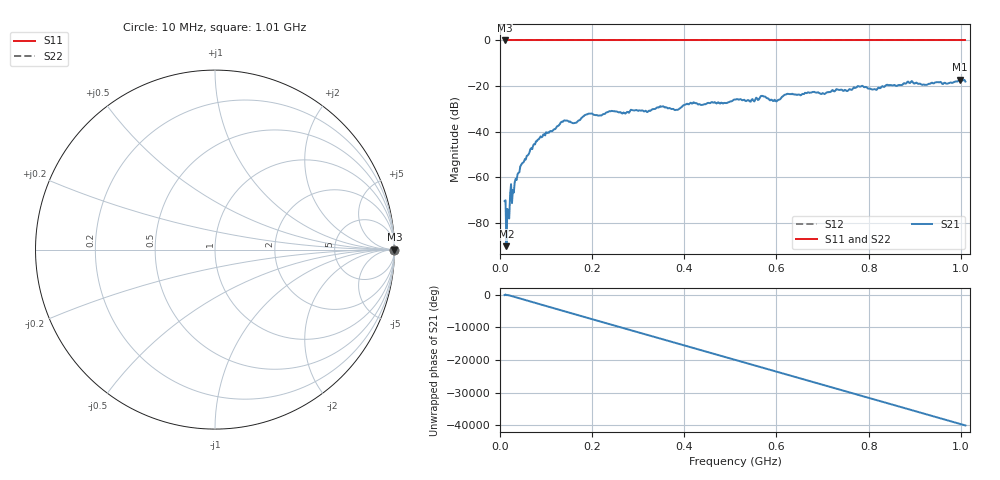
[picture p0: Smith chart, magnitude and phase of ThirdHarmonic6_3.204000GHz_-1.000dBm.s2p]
! 8/17/2025 9:44:20 AM
! C:\ANRITSUVNA\TEMP\TEMP.S2P
! CHANNEL.1
! TR.MEASUREMENT
! RAW.DATA
! RF.CORRECTION.OFF
! AVERAGING.OFF
! IF.BANDWIDTH: 5KHZ
! SWEEPTYPE:  FREQ.SWEEP(Linear)
! Reference Plane Port Info
! PORT:  PORT1  PORT2
! DISTANCE:  0  m  0  m
! TIME:  0  s  0  s
! PHASE.OFFSET:  0  deg.  0  deg.
! LOSS:  0  dB  0  dB
! REF.LOSS:  0  dB  0  dB
! REF.FREQ:  0  Hz  0  Hz
! Power Info
! POWER:  -20  dBm  -20  dBm
! EFF.POWER:  -20  dBm  -20  dBm
! SOURCE.ATTEN:  0  dB  0  dB
! TEST.ATTEN:  0  dB  0  dB
# GHZ S RI R 50.0
! FREQ.GHZ  S11RE  S11IM  S21RE  S21IM  S12RE  S12IM  S22RE  S22IM
!; PortSelection: Port_12
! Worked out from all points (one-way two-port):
!   501 points, 10 MHz to 1.01 GHz, reference 50 ohm
!   highest |S21| = -17.20 dB at 998 MHz (marker M1); lowest = -90.3 dB at 14 MHz (marker M2)
!   lowest |S11| = 0.0 dB at 10 MHz (marker M3)
!   |S11| at or under -10 dB: nowhere
!   |S22| runs from 0.0 to 0.0 dB; largest |S21 - S12| = 1.1
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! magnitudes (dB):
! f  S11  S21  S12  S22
! 10 MHz  0.0  -70.5  0.0  0.0
! 14 MHz  0.0  -90.3  0.0  0.0
! 18 MHz  0.0  -77.7  0.0  0.0
! 26 MHz  0.0  -71.4  0.0  0.0
! 44 MHz  0.0  -55.3  0.0  0.0
! 78 MHz  0.0  -44.3  0.0  0.0
! 136 MHz  0.0  -35.7  0.0  0.0
! 162 MHz  0.0  -36.2  0.0  0.0
! 178 MHz  0.0  -33.8  0.0  0.0
! 344 MHz  0.0  -29.5  0.0  0.0
! 382 MHz  0.0  -30.5  0.0  0.0
! 416 MHz  0.0  -27.7  0.0  0.0
! 510 MHz  0.0  -25.9  0.0  0.0
! 570 MHz  0.0  -24.4  0.0  0.0
! 598 MHz  0.0  -26.6  0.0  0.0
! 622 MHz  0.0  -23.6  0.0  0.0
! 678 MHz  0.0  -22.6  0.0  0.0
! 782 MHz  0.0  -20.3  0.0  0.0
! 814 MHz  0.0  -21.4  0.0  0.0
! 844 MHz  0.0  -19.6  0.0  0.0
! 998 MHz  0.0  -17.2  0.0  0.0
! 1.01 GHz  0.0  -18.1  0.0  0.0
